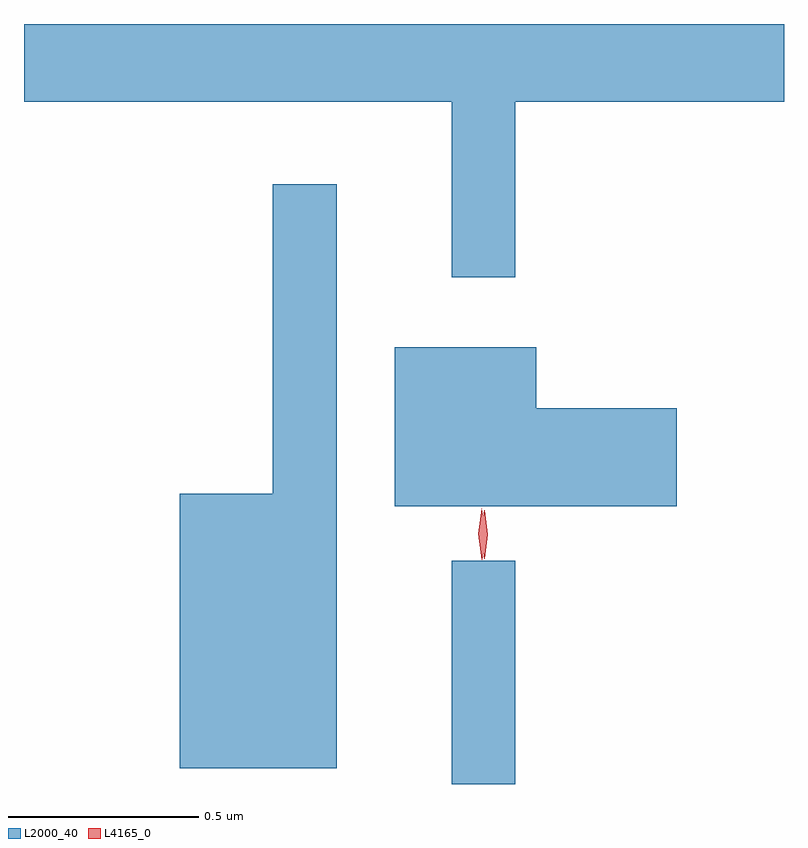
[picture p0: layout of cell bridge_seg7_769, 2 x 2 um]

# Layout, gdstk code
import gdstk
lib = gdstk.Library(unit=1e-6, precision=1e-09)
def R(c, l, rs):  # rectangles x0, y0, x1, y1
    for r in rs: c.add(gdstk.rectangle(r[:2], r[2:], *l))
def P(c, l, *ps):  # polygons
    for p in ps: c.add(gdstk.Polygon(p, *l))
L2000_40 = (2000, 40)
L4165_0 = (4165, 0)

bridge_seg7_769 = lib.new_cell('bridge_seg7_769')
R(bridge_seg7_769, L2000_40, [(523.111,1768.02,523.279,1768.608)])
P(bridge_seg7_769, L2000_40, [(523.279,1769.816),(523.986,1769.816),(523.986,1770.02),(521.986,1770.02),(521.986,1769.816),(523.111,1769.816),(523.111,1769.353),(523.279,1769.353)],
  [(522.809,1769.598),(522.641,1769.598),(522.641,1768.784),(522.396,1768.784),(522.396,1768.061),(522.809,1768.061)],
  [(523.704,1769.009),(523.334,1769.009),(523.334,1769.169),(522.961,1769.169),(522.961,1768.751),(523.704,1768.751)])
P(bridge_seg7_769, L4165_0, [(523.197,1768.613),(523.197,1768.613),(523.187,1768.676),(523.197,1768.74),(523.197,1768.74),(523.198,1768.74),(523.207,1768.676),(523.198,1768.613)],
  [(523.191,1768.61),(523.181,1768.678),(523.19,1768.745),(523.191,1768.746),(523.191,1768.745),(523.201,1768.678),(523.192,1768.61),(523.192,1768.61)])

lib.write_gds('bridge_seg7_769.gds')
